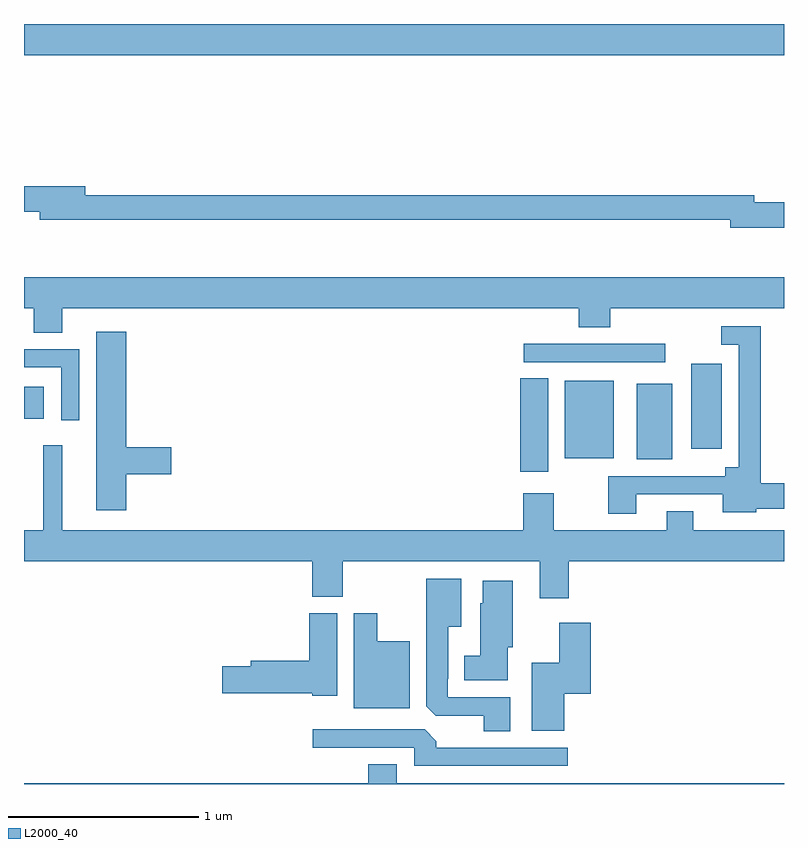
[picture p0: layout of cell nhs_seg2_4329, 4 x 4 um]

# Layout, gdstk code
import gdstk
lib = gdstk.Library(unit=1e-6, precision=1e-09)
def R(c, l, rs):  # rectangles x0, y0, x1, y1
    for r in rs: c.add(gdstk.rectangle(r[:2], r[2:], *l))
def P(c, l, *ps):  # polygons
    for p in ps: c.add(gdstk.Polygon(p, *l))
L2000_40 = (2000, 40)

nhs_seg2_4329 = lib.new_cell('nhs_seg2_4329')
R(nhs_seg2_4329, L2000_40, [(347.612,645.444,347.758,645.935), (348.224,645.509,348.412,645.907), (347.846,645.515,348.103,645.922), (348.512,645.564,348.673,646.012), (345,645.722,345.103,645.892), (347.631,646.02,348.376,646.116), (345,647.636,349,647.8)])
P(nhs_seg2_4329, L2000_40, [(349,646.862),(348.844,646.862),(348.844,646.898),(345.322,646.898),(345.322,646.946),(345,646.946),(345,646.811),(345.083,646.811),(345.083,646.77),(348.716,646.77),(348.716,646.727),(349,646.727)],
  [(345.202,646.304),(347.921,646.304),(347.921,646.205),(348.086,646.205),(348.086,646.304),(349,646.304),(349,646.468),(345,646.468),(345,646.304),(345.05,646.304),(345.05,646.174),(345.202,646.174)],
  [(348.223,645.324),(348.677,645.324),(348.677,645.23),(348.855,645.23),(348.855,645.248),(349,645.248),(349,645.383),(348.878,645.383),(348.878,646.209),(348.669,646.209),(348.669,646.113),(348.762,646.113),(348.762,645.466),(348.692,645.466),(348.692,645.42),(348.076,645.42),(348.076,645.222),(348.223,645.222)],
  [(345.539,645.43),(345.775,645.43),(345.775,645.572),(345.539,645.572),(345.539,646.18),(345.38,646.18),(345.38,645.24),(345.539,645.24)],
  [(345.291,646.089),(345,646.089),(345,645.993),(345.195,645.993),(345.195,645.714),(345.291,645.714)],
  [(347.787,645.331),(347.627,645.331),(347.627,645.136),(345.2,645.136),(345.2,645.583),(345.101,645.583),(345.101,645.136),(345,645.136),(345,644.972),(346.517,644.972),(346.517,644.785),(346.677,644.785),(346.677,644.972),(347.714,644.972),(347.714,644.778),(347.867,644.778),(347.867,644.972),(349,644.972),(349,645.136),(348.523,645.136),(348.523,645.235),(348.383,645.235),(348.383,645.136),(347.787,645.136)],
  [(347.56,644.256),(347.229,644.256),(347.229,644.353),(347.233,644.353),(347.233,644.627),(347.302,644.627),(347.302,644.881),(347.117,644.881),(347.117,644.209),(347.166,644.16),(347.42,644.16),(347.42,644.077),(347.56,644.077)],
  [(347.545,644.52),(347.572,644.52),(347.572,644.869),(347.414,644.869),(347.414,644.751),(347.402,644.751),(347.402,644.476),(347.318,644.476),(347.318,644.345),(347.545,644.345)],
  [(346.648,644.7),(346.502,644.7),(346.502,644.45),(346.193,644.45),(346.193,644.42),(346.044,644.42),(346.044,644.278),(346.518,644.278),(346.518,644.264),(346.648,644.264)],
  [(347.029,644.551),(346.858,644.551),(346.858,644.698),(346.736,644.698),(346.736,644.198),(347.029,644.198)],
  [(347.843,644.276),(347.984,644.276),(347.984,644.65),(347.816,644.65),(347.816,644.439),(347.672,644.439),(347.672,644.079),(347.843,644.079)],
  [(347.863,643.992),(347.171,643.992),(347.171,644.026),(347.109,644.088),(346.521,644.088),(346.521,643.992),(347.055,643.992),(347.055,643.896),(347.863,643.896)],
  [(349,643.804),(346.963,643.804),(346.963,643.903),(346.811,643.903),(346.811,643.804),(345,643.804),(345,643.8),(349,643.8)])

lib.write_gds('nhs_seg2_4329.gds')
